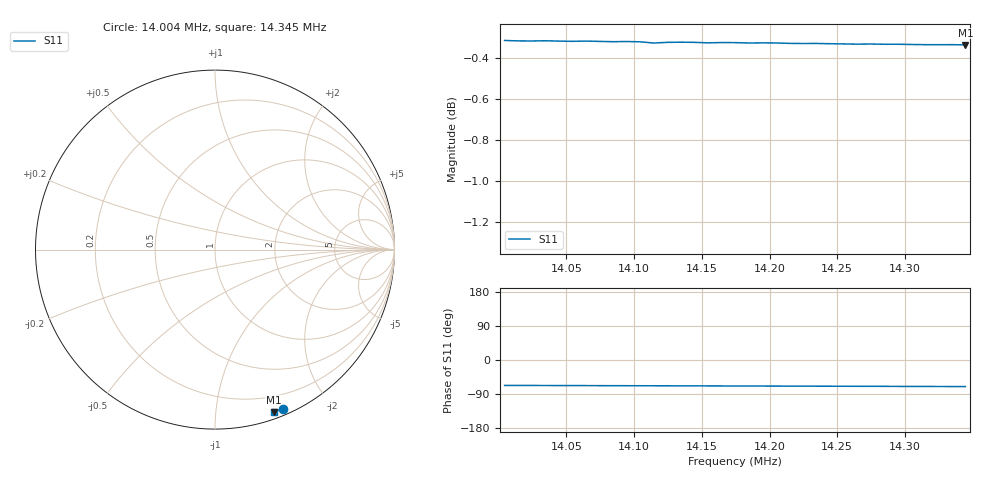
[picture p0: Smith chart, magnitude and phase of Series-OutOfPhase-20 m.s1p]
# HZ S RI R 50
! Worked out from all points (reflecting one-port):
!   35 points, 14.004 MHz to 14.345 MHz, reference 50 ohm
!   lowest |S11| = -0.3 dB at 14.345 MHz (marker M1), VSWR 51.41, Z = 2.95 - j71.2 ohm
!   phase of S11 starts at -67 deg and turns -3 deg over the sweep
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1.40044e7  0.3761 -0.8879
1.40144e7  0.3747 -0.8882
1.402441e7  0.3732 -0.8888
1.403441e7  0.3719 -0.8894
1.404442e7  0.3706 -0.8898
1.405442e7  0.369 -0.8903
1.406442e7  0.3676 -0.891
1.408443e7  0.3648 -0.8919
1.409444e7  0.3633 -0.8925
1.410444e7  0.362 -0.8929
1.411444e7  0.3602 -0.8929
1.412445e7  0.359 -0.8938
1.413445e7  0.3577 -0.8944
1.414446e7  0.3565 -0.8948
1.415446e7  0.3548 -0.8952
1.416446e7  0.3535 -0.8959
1.417447e7  0.3521 -0.8964
1.418447e7  0.3506 -0.8968
1.420448e7  0.3479 -0.8979
1.422449e7  0.3448 -0.8987
1.42445e7  0.342 -0.8997
1.42645e7  0.3389 -0.9006
1.427451e7  0.3376 -0.9012
1.430452e7  0.3332 -0.9025
1.431452e7  0.3318 -0.9029
1.432453e7  0.3302 -0.9035
1.433453e7  0.3288 -0.9041
1.434454e7  0.3274 -0.9044
